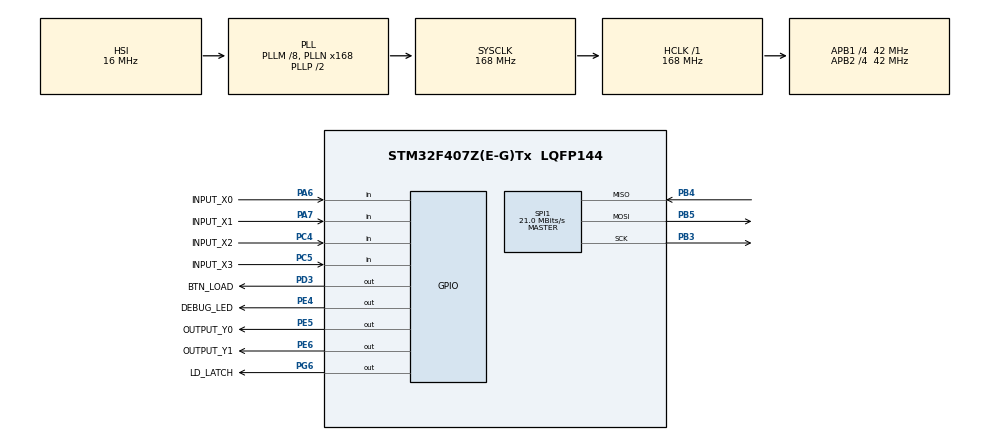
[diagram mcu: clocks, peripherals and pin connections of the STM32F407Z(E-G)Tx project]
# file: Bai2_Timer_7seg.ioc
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Mcu.Family=STM32F4
Mcu.Name=STM32F407Z(E-G)Tx
Mcu.Package=LQFP144
NVIC.PriorityGroup=NVIC_PRIORITYGROUP_4
NVIC.TIM2_IRQn=true\:0\:0\:false\:false\:true\:true\:true\:true
PA13.Mode=Serial_Wire
PA13.Signal=SYS_JTMS-SWDIO
PA14.Mode=Serial_Wire
PA14.Signal=SYS_JTCK-SWCLK
PA6.GPIO_Label=INPUT_X0
PA6.Signal=GPIO_Input
PA7.GPIO_Label=INPUT_X1
PA7.Signal=GPIO_Input
PB3.Mode=Full_Duplex_Master
PB3.Signal=SPI1_SCK
PB4.Mode=Full_Duplex_Master
PB4.Signal=SPI1_MISO
PB5.Mode=Full_Duplex_Master
PB5.Signal=SPI1_MOSI
PC4.GPIO_Label=INPUT_X2
PC4.Signal=GPIO_Input
PC5.GPIO_Label=INPUT_X3
PC5.Signal=GPIO_Input
PD3.GPIO_Label=BTN_LOAD
PD3.Signal=GPIO_Output
PE4.GPIO_Label=DEBUG_LED
PE4.Signal=GPIO_Output
PE5.GPIO_Label=OUTPUT_Y0
PE5.Signal=GPIO_Output
PE6.GPIO_Label=OUTPUT_Y1
PE6.Signal=GPIO_Output
PG6.GPIO_Label=LD_LATCH
PG6.Signal=GPIO_Output
PH0-OSC_IN.Mode=HSE-External-Oscillator
PH0-OSC_IN.Signal=RCC_OSC_IN
PH1-OSC_OUT.Mode=HSE-External-Oscillator
PH1-OSC_OUT.Signal=RCC_OSC_OUT
ProjectManager.HeapSize=0x200
ProjectManager.StackSize=0x400
ProjectManager.TargetToolchain=STM32CubeIDE
RCC.48MHZClocksFreq_Value=84000000
RCC.AHBFreq_Value=168000000
RCC.APB1CLKDivider=RCC_HCLK_DIV4
RCC.APB1Freq_Value=42000000
RCC.APB1TimFreq_Value=84000000
RCC.APB2CLKDivider=RCC_HCLK_DIV4
RCC.APB2Freq_Value=42000000
RCC.APB2TimFreq_Value=84000000
RCC.CortexFreq_Value=168000000
RCC.HCLKFreq_Value=168000000
RCC.HSE_VALUE=8000000
RCC.HSI_VALUE=16000000
RCC.LSE_VALUE=32768
RCC.PLLM=8
RCC.PLLN=168
RCC.SYSCLKFreq_VALUE=168000000
RCC.SYSCLKSource=RCC_SYSCLKSOURCE_PLLCLK
RCC.VCOOutputFreq_Value=336000000
SPI1.CalculateBaudRate=21.0 MBits/s
SPI1.Direction=SPI_DIRECTION_2LINES
SPI1.Mode=SPI_MODE_MASTER
SPI1.VirtualType=VM_MASTER
TIM2.Period=100-1
TIM2.Prescaler=840-1
VP_TIM2_VS_ClockSourceINT.Mode=Internal
board=custom

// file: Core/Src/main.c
/* USER CODE BEGIN Header */
/**
  ******************************************************************************
  * @file           : main.c
  * @brief          : Main program body
  ******************************************************************************
  * @attention
  *
  * <h2><center>&copy; Copyright (c) 2023 STMicroelectronics.
  * All rights reserved.</center></h2>
  *
  * This software component is licensed by ST under BSD 3-Clause license,
  * the "License"; You may not use this file except in compliance with the
  * License. You may obtain a copy of the License at:
  *                        opensource.org/licenses/BSD-3-Clause
  *
  ******************************************************************************
  */
/* USER CODE END Header */
#include "main.h"
#include "spi.h"
#include "tim.h"
#include "gpio.h"

/* USER CODE BEGIN Includes */
#include "software_timer.h"
#include "led_7seg.h"
#include "traffic_light.h"
#include "clock.h"
/* USER CODE END Includes */

void SystemClock_Config(void);
/* USER CODE BEGIN PFP */
void system_init();
void test_LedDebug();
void test_LedY0();
void test_LedY1();
void test_7seg();
void traffic_light();
void clock_call_back();
void colon_call_back();
void shift_led();
/* USER CODE END PFP */

int main(void)
{

  /* MCU Configuration--------------------------------------------------------*/

  /* Reset of all peripherals, Initializes the Flash interface and the Systick. */
  HAL_Init();

  /* Configure the system clock */
  SystemClock_Config();

  /* Initialize all configured peripherals */
  MX_GPIO_Init();
  MX_TIM2_Init();
  MX_SPI1_Init();
  /* USER CODE BEGIN 2 */
  system_init();
  led7_SetColon(1);
  /* USER CODE END 2 */

  /* Infinite loop */
  /* USER CODE BEGIN WHILE */
  while (1)
  {
	  while(!flag_timer2);
	  flag_timer2 = 0;
	  // main task, every 50ms
//	  test_LedDebug();
//	  test_LedY0();
//	  test_LedY1();
	  test_7seg();
	  traffic_light();
	  clock_call_back();
	  colon_call_back();
	  shift_led();
    /* USER CODE END WHILE */

  }
}

void SystemClock_Config(void)
{
  RCC_OscInitTypeDef RCC_OscInitStruct = {0};
  RCC_ClkInitTypeDef RCC_ClkInitStruct = {0};

  /** Configure the main internal regulator output voltage
  */
  __HAL_RCC_PWR_CLK_ENABLE();
  __HAL_PWR_VOLTAGESCALING_CONFIG(PWR_REGULATOR_VOLTAGE_SCALE1);

  /** Initializes the RCC Oscillators according to the specified parameters
  * in the RCC_OscInitTypeDef structure.
  */
  RCC_OscInitStruct.OscillatorType = RCC_OSCILLATORTYPE_HSI;
  RCC_OscInitStruct.HSIState = RCC_HSI_ON;
  RCC_OscInitStruct.HSICalibrationValue = RCC_HSICALIBRATION_DEFAULT;
  RCC_OscInitStruct.PLL.PLLState = RCC_PLL_ON;
  RCC_OscInitStruct.PLL.PLLSource = RCC_PLLSOURCE_HSI;
  RCC_OscInitStruct.PLL.PLLM = 8;
  RCC_OscInitStruct.PLL.PLLN = 168;
  RCC_OscInitStruct.PLL.PLLP = RCC_PLLP_DIV2;
  RCC_OscInitStruct.PLL.PLLQ = 4;
  if (HAL_RCC_OscConfig(&RCC_OscInitStruct) != HAL_OK)
  {
    Error_Handler();
  }

  /** Initializes the CPU, AHB and APB buses clocks
  */
  RCC_ClkInitStruct.ClockType = RCC_CLOCKTYPE_HCLK|RCC_CLOCKTYPE_SYSCLK
                              |RCC_CLOCKTYPE_PCLK1|RCC_CLOCKTYPE_PCLK2;
  RCC_ClkInitStruct.SYSCLKSource = RCC_SYSCLKSOURCE_PLLCLK;
  RCC_ClkInitStruct.AHBCLKDivider = RCC_SYSCLK_DIV1;
  RCC_ClkInitStruct.APB1CLKDivider = RCC_HCLK_DIV4;
  RCC_ClkInitStruct.APB2CLKDivider = RCC_HCLK_DIV4;

  if (HAL_RCC_ClockConfig(&RCC_ClkInitStruct, FLASH_LATENCY_5) != HAL_OK)
  {
    Error_Handler();
  }
}

/* USER CODE BEGIN 4 */
void system_init(){
	  HAL_GPIO_WritePin(OUTPUT_Y0_GPIO_Port, OUTPUT_Y0_Pin, 0);
	  HAL_GPIO_WritePin(OUTPUT_Y1_GPIO_Port, OUTPUT_Y1_Pin, 0);
	  HAL_GPIO_WritePin(DEBUG_LED_GPIO_Port, DEBUG_LED_Pin, 0);
	  timer_init();
	  led7_init();
	  setTimer2(50);
}

uint8_t count_led_debug = 0;
uint8_t count_led_Y0 = 0;
uint8_t count_led_Y1 = 0;

void test_LedDebug(){
	count_led_debug = (count_led_debug + 1)%40;
	if(count_led_debug == 0){
		HAL_GPIO_TogglePin(DEBUG_LED_GPIO_Port, DEBUG_LED_Pin);
	}
}

void test_LedY0(){
	count_led_Y0 = (count_led_Y0+ 1)%120;
	if(count_led_Y0 > 40){
		HAL_GPIO_WritePin(OUTPUT_Y0_GPIO_Port, OUTPUT_Y0_Pin, 1);
	} else {
		HAL_GPIO_WritePin(OUTPUT_Y0_GPIO_Port, OUTPUT_Y0_Pin, 0);
	}
}

void test_LedY1(){
	count_led_Y1 = (count_led_Y1+ 1)%120;
	if(count_led_Y1 > 10){
		HAL_GPIO_WritePin(OUTPUT_Y1_GPIO_Port, OUTPUT_Y1_Pin, 0);
	} else {
		HAL_GPIO_WritePin(OUTPUT_Y0_GPIO_Port, OUTPUT_Y1_Pin, 1);
	}
}

void test_7seg(){
	//write number1 at led index 0 (not show dot)
	led7_SetDigit(buffer[0], 0, 0);
	led7_SetDigit(buffer[1], 1, 0);
	led7_SetDigit(buffer[2], 2, 0);
	led7_SetDigit(buffer[3], 3, 0);
}
uint8_t count_traffic = 0;
uint8_t state = 0;
void traffic_light(){
	count_traffic++;
	if(state == 0){
		if(count_traffic >= 100){
			count_traffic = 0;
			state = 1;
			traffic_light_state(1);
		}
	}
	if(state == 1){
		if(count_traffic >= 60){
			count_traffic = 0;
			state = 2;
			traffic_light_state(2);
		}
	}
	if(state == 2){
		if(count_traffic >= 40){
			count_traffic = 0;
			state = 0;
			traffic_light_state(0);
		}
	}
}

uint16_t count_clock = 0;
void clock_call_back(){
	count_clock = (count_clock + 1)%20;
	if(count_clock == 0)
		clock_fsm();
}

uint8_t count_colon =0;
void colon_call_back(){
	count_colon = (count_colon+1) %5;
	if(count_colon == 0)
		blink_colon();
}

uint8_t count_shift = 0;
void shift_led(){
	count_shift = (count_shift + 1)%20;
	if(count_shift == 0){
		uint8_t temp = buffer[0];
		for(int i = 0; i < 3; i++){
			buffer[i] = buffer[i+1];
		}
		buffer[3] = temp;
	}
}
/* USER CODE END 4 */

void Error_Handler(void)
{
  __disable_irq();
  while (1)
  {
  }
}
